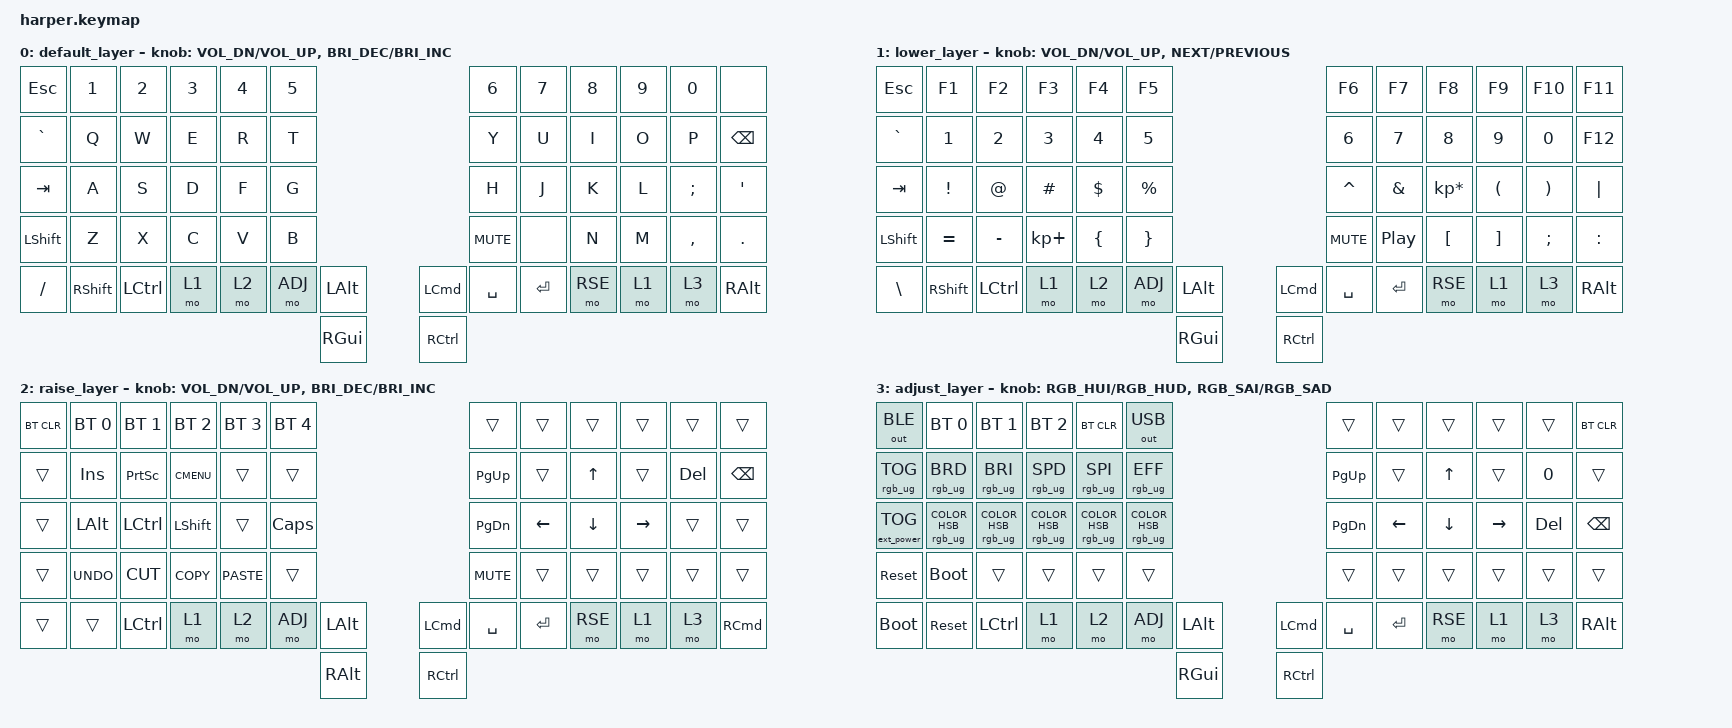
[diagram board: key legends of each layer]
#include <behaviors.dtsi>
#include <dt-bindings/zmk/bt.h>
#include <dt-bindings/zmk/ext_power.h>
#include <dt-bindings/zmk/keys.h>
#include <dt-bindings/zmk/outputs.h>
#include <dt-bindings/zmk/rgb.h>

#define DEF 0
#define LWR 1
#define RSE 2
#define ADJ 3

&lt { quick_tap_ms = <200>; };

&mt { quick_tap_ms = <200>; };

/ {
    keymap {
        compatible = "zmk,keymap";

        default_layer {
            bindings = <
&kp ESC    &kp N1     &kp N2     &kp N3  &kp N4  &kp N5             &kp N6            &kp N7     &kp N8     &kp N9   &kp N0     &none
&kp GRAVE  &kp Q      &kp W      &kp E   &kp R   &kp T              &kp Y             &kp U      &kp I      &kp O    &kp P      &kp BSPC
&kp TAB    &kp A      &kp S      &kp D   &kp F   &kp G              &kp H             &kp J      &kp K      &kp L    &kp SEMI   &kp SQT
&kp LSHFT  &kp Z      &kp X      &kp C   &kp V   &kp B              &kp C_MUTE        &none      &kp N      &kp M    &kp COMMA  &kp DOT
&kp FSLH   &kp RSHFT  &kp LCTRL  &mo 1   &mo 2   &mo ADJ  &kp LALT  &kp LEFT_COMMAND  &kp SPACE  &kp ENTER  &mo RSE  &mo 1      &mo 3     &kp RALT
                                                                    &kp RGUI                                                              &kp RCTRL
            >;

            sensor-bindings = <&inc_dec_kp C_VOL_DN C_VOL_UP &inc_dec_kp C_BRIGHTNESS_DEC C_BRIGHTNESS_INC>;
        };

        lower_layer {
            bindings = <
&kp ESC    &kp F1     &kp F2     &kp F3       &kp F4    &kp F5               &kp F6            &kp F7            &kp F8           &kp F9    &kp F10   &kp F11
&kp GRAVE  &kp N1     &kp N2     &kp N3       &kp N4    &kp N5               &kp N6            &kp N7            &kp N8           &kp N9    &kp N0    &kp F12
&kp TAB    &kp EXCL   &kp AT     &kp HASH     &kp DLLR  &kp PRCNT            &kp CARET         &kp AMPS          &kp KP_MULTIPLY  &kp LPAR  &kp RPAR  &kp PIPE
&kp LSHFT  &kp EQUAL  &kp MINUS  &kp KP_PLUS  &kp LBRC  &kp RBRC             &kp C_MUTE        &kp C_PLAY_PAUSE  &kp LBKT         &kp RBKT  &kp SEMI  &kp COLON
&kp BSLH   &kp RSHFT  &kp LCTRL  &mo 1        &mo 2     &mo ADJ    &kp LALT  &kp LEFT_COMMAND  &kp SPACE         &kp ENTER        &mo RSE   &mo 1     &mo 3      &kp RALT
                                                                             &kp RGUI                                                                            &kp RCTRL
            >;

            sensor-bindings = <&inc_dec_kp C_VOL_DN C_VOL_UP &inc_dec_kp C_NEXT C_PREVIOUS>;
        };

        raise_layer {
            bindings = <
&bt BT_CLR  &bt BT_SEL 0  &bt BT_SEL 1  &bt BT_SEL 2  &bt BT_SEL 3  &bt BT_SEL 4            &trans            &trans     &trans        &trans     &trans      &trans
&trans      &kp INS       &kp PSCRN     &kp K_CMENU   &trans        &trans                  &kp PG_UP         &trans     &kp UP_ARROW  &trans     &kp DELETE  &kp BACKSPACE
&trans      &kp LALT      &kp LCTRL     &kp LSHFT     &trans        &kp CLCK                &kp PG_DN         &kp LEFT   &kp DOWN      &kp RIGHT  &trans      &trans
&trans      &kp K_UNDO    &kp K_CUT     &kp K_COPY    &kp K_PASTE   &trans                  &kp C_MUTE        &trans     &trans        &trans     &trans      &trans
&trans      &trans        &kp LCTRL     &mo 1         &mo 2         &mo ADJ       &kp LALT  &kp LEFT_COMMAND  &kp SPACE  &kp ENTER     &mo RSE    &mo 1       &mo 3          &kp RIGHT_COMMAND
                                                                                            &kp RALT                                                                         &kp RCTRL
            >;

            sensor-bindings = <&inc_dec_kp C_VOL_DN C_VOL_UP &inc_dec_kp C_BRIGHTNESS_DEC C_BRIGHTNESS_INC>;
        };

        adjust_layer {
            bindings = <
&out OUT_BLE       &bt BT_SEL 0                     &bt BT_SEL 1                       &bt BT_SEL 2                      &bt BT_CLR                       &out OUT_USB                                 &trans            &trans     &trans     &trans     &trans   &bt BT_CLR
&rgb_ug RGB_TOG    &rgb_ug RGB_BRD                  &rgb_ug RGB_BRI                    &rgb_ug RGB_SPD                   &rgb_ug RGB_SPI                  &rgb_ug RGB_EFF                              &kp PG_UP         &trans     &kp UP     &trans     &kp N0   &trans
&ext_power EP_TOG  &rgb_ug RGB_COLOR_HSB(0,100,50)  &rgb_ug RGB_COLOR_HSB(218,100,50)  &rgb_ug RGB_COLOR_HSB(120,97,50)  &rgb_ug RGB_COLOR_HSB(60,0,100)  &rgb_ug RGB_COLOR_HSB(268,100,52)            &kp PG_DN         &kp LEFT   &kp DOWN   &kp RIGHT  &kp DEL  &kp BSPC
&sys_reset         &bootloader                      &trans                             &trans                            &trans                           &trans                                       &trans            &trans     &trans     &trans     &trans   &trans
&bootloader        &sys_reset                       &kp LCTRL                          &mo 1                             &mo 2                            &mo ADJ                            &kp LALT  &kp LEFT_COMMAND  &kp SPACE  &kp ENTER  &mo RSE    &mo 1    &mo 3       &kp RALT
                                                                                                                                                                                                       &kp RGUI                                                                &kp RCTRL
            >;

            sensor-bindings = <&inc_dec_kp RGB_HUI RGB_HUD &inc_dec_kp RGB_SAI RGB_SAD>;
        };
    };
};
